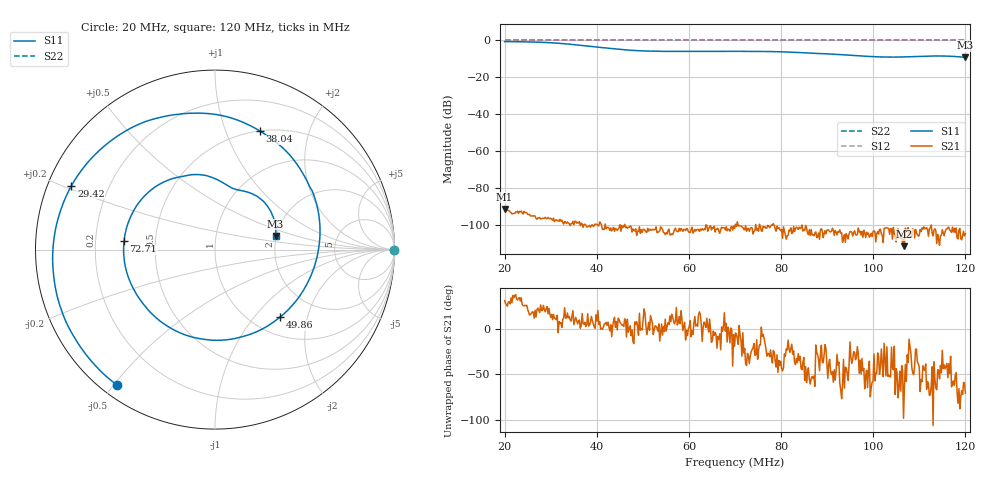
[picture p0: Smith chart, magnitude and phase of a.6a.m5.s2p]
! Anritsu VNA Master:  Model: MS2036C/10/77
! SN:  1601066
! /bd0/18may07/256.ew.m5.s2p
! Existing Calibration Information:
! TYPE:  Current Settings,  Active Cal Settings
! TIME:  05/07/2018 12:08:10 PM,  05/07/2018 12:05:13 PM
! INTERNAL TEMP:  53.8 C,  53.5 C
! # POINTS:  500,  500
! START FREQ:  20.000 MHz,  20.000 MHz
! STOP FREQ:  120.000 MHz,  120.000 MHz
! SOURCE POWER:  High,  High
! IFBW:  50 Hz,  50 Hz
! AVG FACTOR:  1 ,  1
! REF PLANE 1:  0 mm,  0 mm
! REF PLANE 2:  0 mm,  0 mm
! CAL TYPE:  Full S11,  Full S11
! CAL METHOD:  SOLT,  SOLT
! CAL LINE TYPE:  Coax,  Coax
! DUT PORT 1:  K-Conn(F),  K-Conn(F)
! DUT PORT 2:  K-Conn(F),  K-Conn(F)
! CAL STATUS:  OK: Accuracy High,  --
# GHZ S DB R 50.0
! FREQ.GHZ  S11DB  S11A  S21DB  S21A  S12DB  S12A  S22DB  S22A
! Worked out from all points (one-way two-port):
!   500 points, 20 MHz to 120 MHz, reference 50 ohm
!   highest |S21| = -91.25 dB at 20 MHz (marker M1); lowest = -111.3 dB at 106.8 MHz (marker M2)
!   lowest |S11| = -9.2 dB at 120 MHz (marker M3), VSWR 2.06, Z = 98.9 + j17.2 ohm
!   |S11| at or under -10 dB: nowhere
!   |S22| runs from 0.0 to 0.0 dB; largest |S21 - S12| = 1
!   S11 on the Smith chart (normalised r, x): 20 MHz: 0.05, -0.51; 29.42 MHz: 0.07, +0.21; 38.04 MHz: 0.50, +1.33; 49.86 MHz: 1.33, -1.37; 72.71 MHz: 0.33, +0.04; 120 MHz: 1.98, +0.34
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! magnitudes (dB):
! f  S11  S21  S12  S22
! 20 MHz  -0.6  -91.2  0.0  0.0
! 24.81 MHz  -0.8  -93.3  0.0  0.0
! 29.42 MHz  -1.2  -95.8  0.0  0.0
! 33.03 MHz  -1.8  -98.0  0.0  0.0
! 36.83 MHz  -2.7  -99.4  0.0  0.0
! 38.04 MHz  -3.0  -100.9  0.0  0.0
! 45.25 MHz  -4.9  -103.3  0.0  0.0
! 49.86 MHz  -5.6  -103.9  0.0  0.0
! 53.47 MHz  -5.9  -103.6  0.0  0.0
! 63.49 MHz  -6.0  -102.5  0.0  0.0
! 70.1 MHz  -5.9  -99.5  0.0  0.0
! 72.71 MHz  -5.9  -102.1  0.0  0.0
! 80.12 MHz  -6.2  -102.2  0.0  0.0
! 86.73 MHz  -6.9  -105.3  0.0  0.0
! 91.34 MHz  -7.4  -102.7  0.0  0.0
! 98.76 MHz  -8.6  -105.0  0.0  0.0
! 103.4 MHz  -9.0  -101.8  0.0  0.0
! 106.8 MHz  -8.9  -111.3  0.0  0.0
! 112 MHz  -8.4  -105.9  0.0  0.0
! 114.6 MHz  -8.4  -105.7  0.0  0.0
! 117.6 MHz  -8.7  -101.7  0.0  0.0
! 120 MHz  -9.2  -104.6  0.0  0.0
